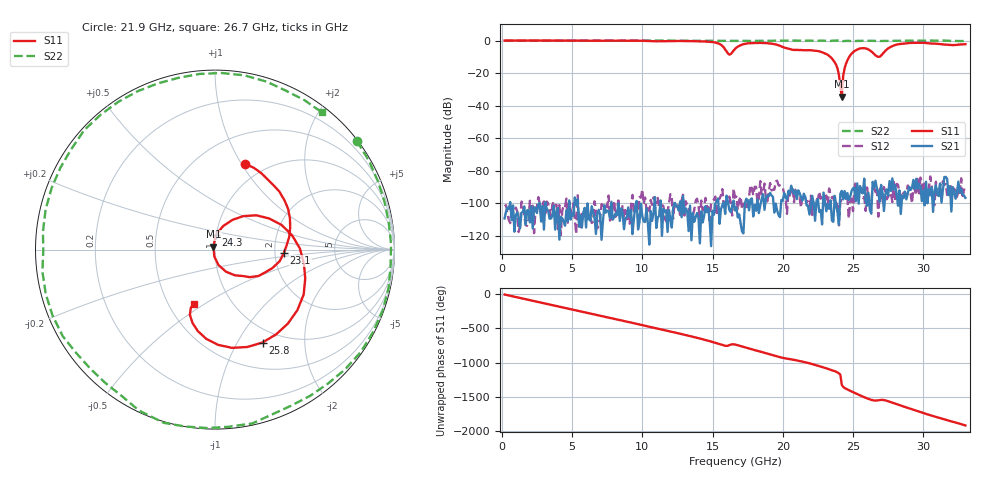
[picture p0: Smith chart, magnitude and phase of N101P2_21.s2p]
# GHZ S RI R 50
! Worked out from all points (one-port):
!   329 points, 200 MHz to 33 GHz, reference 50 ohm
!   lowest |S11| = -34.6 dB at 24.2 GHz (marker M1), VSWR 1.04, Z = 49.1 + j1.63 ohm
!   |S11| at or under -10 dB: 23.37 GHz to 24.74 GHz (1.365 GHz wide, 5.68 % of centre); 26.79338 GHz to 26.82084 GHz (27.46 MHz wide, 0.102 % of centre)
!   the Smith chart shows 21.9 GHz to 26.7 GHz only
!   S11 on the Smith chart (normalised r, x): 21.9 GHz: 0.81, +1.04; 23.1 GHz: 2.24, -0.10; 24.3 GHz: 0.99, +0.16; 25.8 GHz: 0.82, -1.28; 26.7 GHz: 0.66, -0.45
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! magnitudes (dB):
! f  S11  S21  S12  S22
! 200 MHz  0.0  -109.3  -101.7  0.0
! 5.7 GHz  -0.1  -115.0  -104.8  -0.1
! 11.2 GHz  -0.4  -107.8  -103.4  0.0
! 15.1 GHz  -1.0  -107.1  -97.6  -0.2
! 15.6 GHz  -2.6  -103.6  -95.2  -0.2
! 16.2 GHz  -8.6  -104.3  -95.9  -0.2
! 16.6 GHz  -5.2  -104.4  -96.6  -0.3
! 18.4 GHz  -1.4  -101.1  -86.4  -0.1
! 21.9 GHz  -5.9  -106.9  -106.2  0.0
! 22.1 GHz  -6.1  -95.5  -107.3  -0.1
! 23.1 GHz  -8.3  -104.9  -95.2  -0.2
! 23.9 GHz  -17.2  -105.9  -99.3  0.1
! 24 GHz  -21.2  -113.1  -113.6  -0.1
! 24.2 GHz  -34.6  -92.4  -98.1  -0.3
! 24.3 GHz  -21.8  -97.6  -98.9  -0.3
! 24.5 GHz  -14.3  -97.3  -95.1  -0.2
! 24.8 GHz  -9.2  -96.0  -99.0  -0.3
! 25.8 GHz  -4.7  -84.9  -96.2  -0.2
! 26.7 GHz  -9.7  -91.0  -89.9  -0.3
! 27.6 GHz  -4.3  -86.4  -93.9  -0.2
! 29.1 GHz  -1.4  -91.8  -94.2  -0.1
! 33 GHz  -2.2  -96.7  -91.6  -0.3
